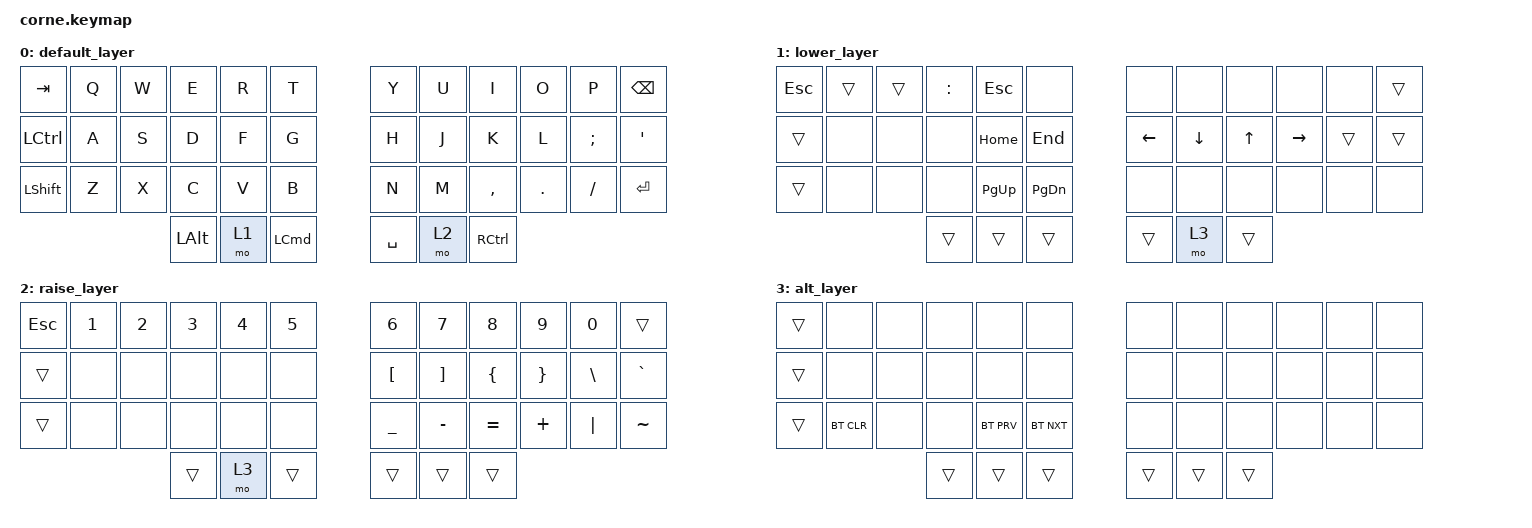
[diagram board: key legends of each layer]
#include <behaviors.dtsi>
#include <dt-bindings/zmk/keys.h>
#include <dt-bindings/zmk/bt.h>

&mt {
  tapping-term-ms = <100>;
};

/ {
  keymap {
    compatible = "zmk,keymap";

    default_layer {
      bindings = <
        &kp TAB       &kp Q &kp W &kp E    &kp R     &kp T       &kp Y     &kp U     &kp I     &kp O   &kp P    &kp BSPC
        &kp LCTRL     &kp A &kp S &kp D    &kp F     &kp G       &kp H     &kp J     &kp K     &kp L   &kp SEMI &kp SQT
        &kp LSHIFT    &kp Z &kp X &kp C    &kp V     &kp B       &kp N     &kp M     &kp COMMA &kp DOT &kp FSLH &kp ENTER
                                  &kp LALT &mo 1     &kp LCMD    &kp SPACE &mo 2     &kp RCTRL
      >;
    };

    lower_layer { 
      bindings = <
        &kp ESC &trans &trans &kp COLON &kp ESCAPE &none       &none    &none    &none  &none     &none  &trans
        &trans  &none  &none  &none     &kp HOME   &kp END     &kp LEFT &kp DOWN &kp UP &kp RIGHT &trans &trans
        &trans  &none  &none  &none     &kp PG_UP  &kp PG_DN   &none    &none    &none  &none     &none  &none
                             &trans    &trans     &trans      &trans   &mo 3    &trans
      >;
    };

    raise_layer {
      bindings = <
        &kp ESC &kp N1     &kp N2 &kp N3 &kp N4     &kp N5      &kp N6    &kp N7    &kp N8    &kp N9   &kp N0   &trans
        &trans  &none      &none  &none  &none      &none       &kp LBKT  &kp RBKT  &kp LBRC  &kp RBRC &kp BSLH &kp GRAVE
        &trans  &none      &none  &none  &none      &none       &kp UNDER &kp MINUS &kp EQUAL &kp PLUS &kp PIPE &kp TILDE
                                 &trans &mo 3      &trans      &trans    &trans    &trans 
      >;
    };

    alt_layer {
      bindings = <
        &trans &none      &none  &none  &none      &none       &none     &none     &none     &none    &none    &none 
        &trans &none      &none  &none  &none      &none       &none     &none     &none     &none    &none    &none 
        &trans &bt BT_CLR &none  &none  &bt BT_PRV &bt BT_NXT  &none     &none     &none     &none    &none    &none 
                                 &trans &trans     &trans      &trans    &trans    &trans
      >;
    };
  };
};
 
